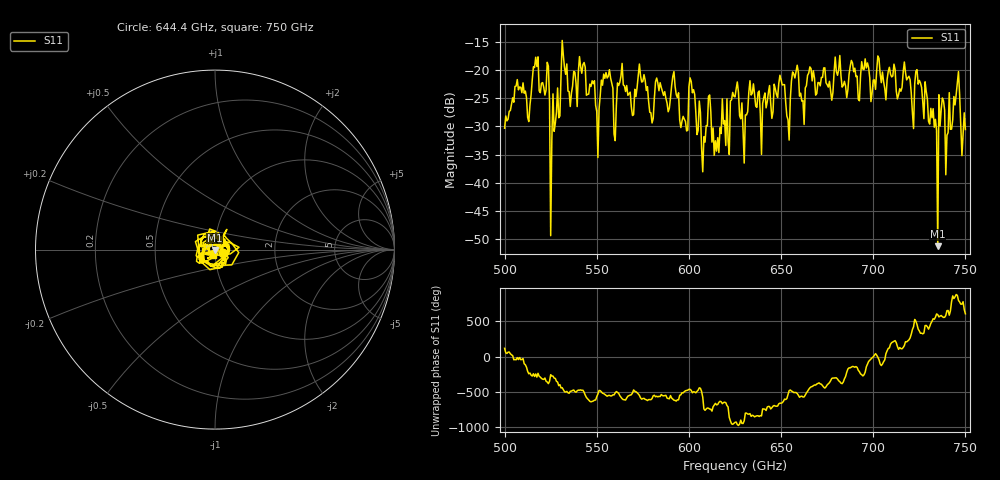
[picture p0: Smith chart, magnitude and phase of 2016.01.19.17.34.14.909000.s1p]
!Created with skrf (http://scikit-rf.org).
# GHz S RI R 50.0
!freq ReS11 ImS11
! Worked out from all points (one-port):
!   401 points, 500 GHz to 750 GHz, reference 50 ohm
!   lowest |S11| = -51.2 dB at 735 GHz (marker M1), VSWR 1.01, Z = 49.8 - j0.227 ohm
!   |S11| at or under -10 dB: start of sweep to end of sweep
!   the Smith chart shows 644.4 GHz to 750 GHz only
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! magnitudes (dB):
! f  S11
! 500 GHz  -30.3
! 506.9 GHz  -21.7
! 513.1 GHz  -29.1
! 516.9 GHz  -17.7
! 523.1 GHz  -18.6
! 526.2 GHz  -24.2
! 531.2 GHz  -14.8
! 541.9 GHz  -20.6
! 550.6 GHz  -35.5
! 553.8 GHz  -20.7
! 562.5 GHz  -22.2
! 593.8 GHz  -24.9
! 598.1 GHz  -29.1
! 601.2 GHz  -22.1
! 607.5 GHz  -38.0
! 610.6 GHz  -24.7
! 615 GHz  -34.4
! 625 GHz  -24.8
! 630.6 GHz  -28.0
! 633.8 GHz  -24.4
! 650.6 GHz  -22.7
! 653.8 GHz  -28.8
! 656.2 GHz  -20.3
! 687.5 GHz  -19.4
! 718.8 GHz  -21.4
! 735 GHz  -51.2
! 745 GHz  -24.3
! 750 GHz  -30.6
